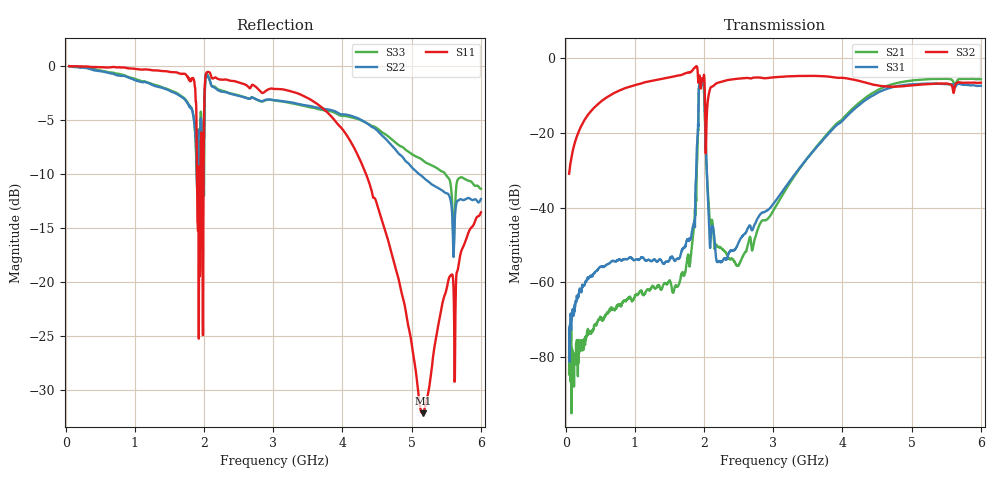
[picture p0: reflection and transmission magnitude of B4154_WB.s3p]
! Matrix data file written by TouchstoneData, EPCOS AG
! FILENAME: "B4154_WB.s3p"
! COMMENT: "(B4154_SAWi_WB.s3p) EPCOS AG 19.02.2010 14:2"
! INFO: nport=3, nfreq=1601
! DATE: "Fri Feb 19 14:20:34 2010"
! USER: "Aleksander Breg"
! port | pin | signal
!  1  |  2  |  input
!  2  |  4  |  output
!  3  |  6  |  output
# MHZ S MA R 50
! freq  magS11 angS11  magS12 angS12  magS13 angS13  ...
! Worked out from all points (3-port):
!   1601 points, 50 MHz to 6 GHz, reference 50 ohm
!   strongest paths, dB at 50 MHz, 1.538 GHz, 3.025 GHz, 4.513 GHz, 6 GHz:
!     S32: -30.9, -5.0, -5.0, -7.3, -6.5
!     S31: -72.4, -53.1, -38.4, -9.1, -7.3
!     S21: -84.8, -62.0, -40.0, -8.4, -5.6
!   lowest |S11| = -32.1 dB at 5.16 GHz (marker M1), VSWR 1.05, Z = 47.6 - j0.0276 ohm
!   |S11| at or under -10 dB: 1.918 GHz to 1.949 GHz (31.22 MHz wide, 1.61 % of centre); 1.974 GHz to 1.992 GHz (17.97 MHz wide, 0.906 % of centre); 4.34 GHz to end of sweep (the widest 3 of 4)
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50  0.9982 -3.1  5.77e-05 -102.1  0.0002407 69.0
    5.77e-05 -102.1  0.9976 -3.2  0.02843 86.7
    0.0002407 69.0  0.02843 86.7  0.9977 -3.2
1716  0.9214 -110.1  0.001232 42.8  0.002879 -15.7
      0.001232 42.8  0.7033 -90.1  0.625 -5.1
      0.002879 -15.7  0.625 -5.1  0.7093 -94.7
1842.438  0.8775 -137.3  0.004365 -2.0  0.005764 -25.6
          0.004365 -2.0  0.5955 -100.9  0.7132 -17.2
          0.005764 -25.6  0.7132 -17.2  0.5974 -106.3
1957.719  0.4813 -66.8  0.4656 173.6  0.441 -15.6
          0.4656 173.6  0.5664 -70.7  0.4448 -34.0
          0.441 -15.6  0.4448 -34.0  0.5999 -83.1
2076.719  0.9361 -86.9  0.007774 170.3  0.004723 -14.6
          0.007774 170.3  0.8654 -81.1  0.3592 3.2
          0.004723 -14.6  0.3592 3.2  0.8711 -85.9
2199.438  0.8718 -104.4  0.002987 -175.9  0.001885 -101.7
          0.002987 -175.9  0.773 -90.9  0.472 -10.9
          0.001885 -101.7  0.472 -10.9  0.7812 -97.1
3025  0.7833 -148.8  0.009951 -71.3  0.01202 -76.7
      0.009951 -71.3  0.6946 -116.2  0.5602 -39.2
      0.01202 -76.7  0.5602 -39.2  0.6915 -127.2
4029.062  0.4953 120.3  0.1648 -119.1  0.1556 -124.6
          0.1648 -119.1  0.5972 -155.6  0.5462 -75.9
          0.1556 -124.6  0.5462 -75.9  0.5877 -173.1
5159.562  0.02472 -179.3  0.5213 113.6  0.4586 107.8
          0.5213 113.6  0.3072 128.4  0.4477 -91.9
          0.4586 107.8  0.4477 -91.9  0.3666 100.1
6000  0.2102 8.0  0.5262 46.2  0.4295 42.4
      0.5262 46.2  0.2422 96.5  0.4723 -112.8
      0.4295 42.4  0.4723 -112.8  0.2701 50.1
